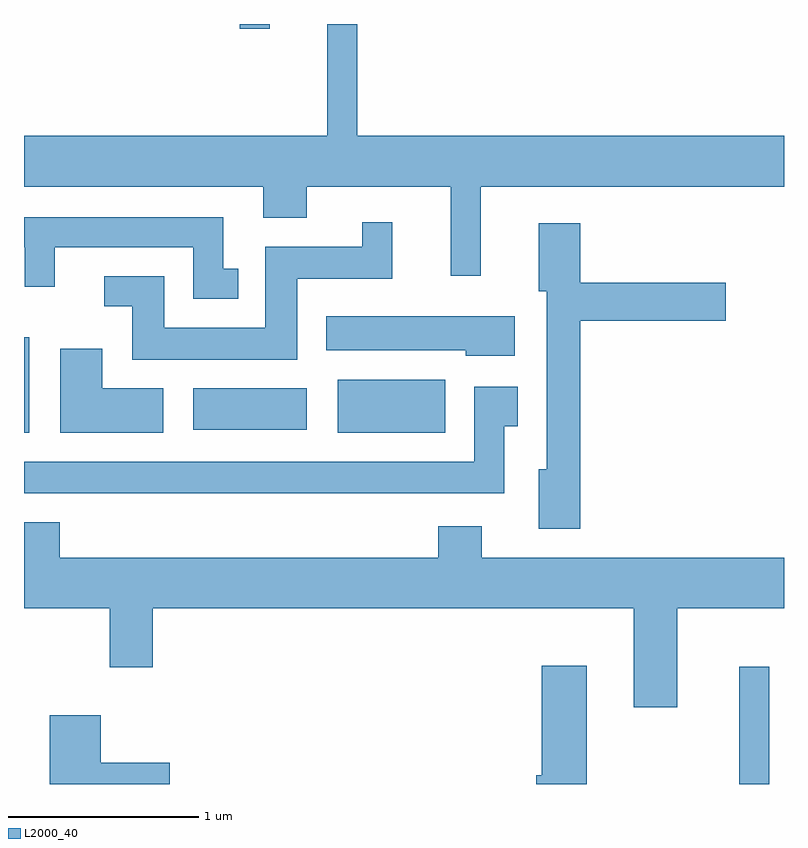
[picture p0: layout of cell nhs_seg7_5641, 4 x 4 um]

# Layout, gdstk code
import gdstk
lib = gdstk.Library(unit=1e-6, precision=1e-09)
def R(c, l, rs):  # rectangles x0, y0, x1, y1
    for r in rs: c.add(gdstk.rectangle(r[:2], r[2:], *l))
def P(c, l, *ps):  # polygons
    for p in ps: c.add(gdstk.Polygon(p, *l))
L2000_40 = (2000, 40)

nhs_seg7_5641 = lib.new_cell('nhs_seg7_5641')
R(nhs_seg7_5641, L2000_40, [(361.376,1742.252,361.534,1742.868), (357.611,1744.101,357.639,1744.604), (359.261,1744.101,359.829,1744.379), (358.501,1744.116,359.099,1744.334), (358.746,1746.228,358.904,1746.252)])
P(nhs_seg7_5641, L2000_40, [(359.206,1746.252),(359.206,1745.664),(357.611,1745.664),(357.611,1745.396),(358.871,1745.396),(358.871,1745.231),(359.099,1745.231),(359.099,1745.396),(359.856,1745.396),(359.856,1744.928),(360.014,1744.928),(360.014,1745.396),(361.611,1745.396),(361.611,1745.664),(359.364,1745.664),(359.364,1746.252)],
  [(358.738,1744.964),(358.659,1744.964),(358.659,1745.234),(357.611,1745.234),(357.611,1745.076),(357.616,1745.076),(357.616,1744.868),(357.774,1744.868),(357.774,1745.076),(358.501,1745.076),(358.501,1744.806),(358.738,1744.806)],
  [(359.049,1744.911),(359.549,1744.911),(359.549,1745.208),(359.391,1745.208),(359.391,1745.079),(358.881,1745.079),(358.881,1744.654),(358.349,1744.654),(358.349,1744.924),(358.033,1744.924),(358.033,1744.766),(358.181,1744.766),(358.181,1744.486),(359.049,1744.486)],
  [(360.539,1744.691),(361.304,1744.691),(361.304,1744.889),(360.539,1744.889),(360.539,1745.204),(360.321,1745.204),(360.321,1744.846),(360.361,1744.846),(360.361,1743.909),(360.321,1743.909),(360.321,1743.596),(360.539,1743.596)],
  [(360.194,1744.714),(359.201,1744.714),(359.201,1744.536),(359.936,1744.536),(359.936,1744.506),(360.194,1744.506)],
  [(358.344,1744.334),(358.024,1744.334),(358.024,1744.544),(357.801,1744.544),(357.801,1744.101),(358.344,1744.101)],
  [(360.139,1744.136),(360.209,1744.136),(360.209,1744.344),(359.981,1744.344),(359.981,1743.949),(357.611,1743.949),(357.611,1743.781),(360.139,1743.781)],
  [(361.049,1743.176),(361.611,1743.176),(361.611,1743.444),(360.019,1743.444),(360.019,1743.609),(359.791,1743.609),(359.791,1743.444),(357.799,1743.444),(357.799,1743.629),(357.611,1743.629),(357.611,1743.176),(358.061,1743.176),(358.061,1742.866),(358.289,1742.866),(358.289,1743.176),(360.821,1743.176),(360.821,1742.656),(361.049,1742.656)],
  [(360.574,1742.874),(360.336,1742.874),(360.336,1742.299),(360.306,1742.299),(360.306,1742.252),(360.574,1742.252)],
  [(358.379,1742.364),(358.014,1742.364),(358.014,1742.614),(357.746,1742.614),(357.746,1742.252),(358.379,1742.252)])

lib.write_gds('nhs_seg7_5641.gds')
